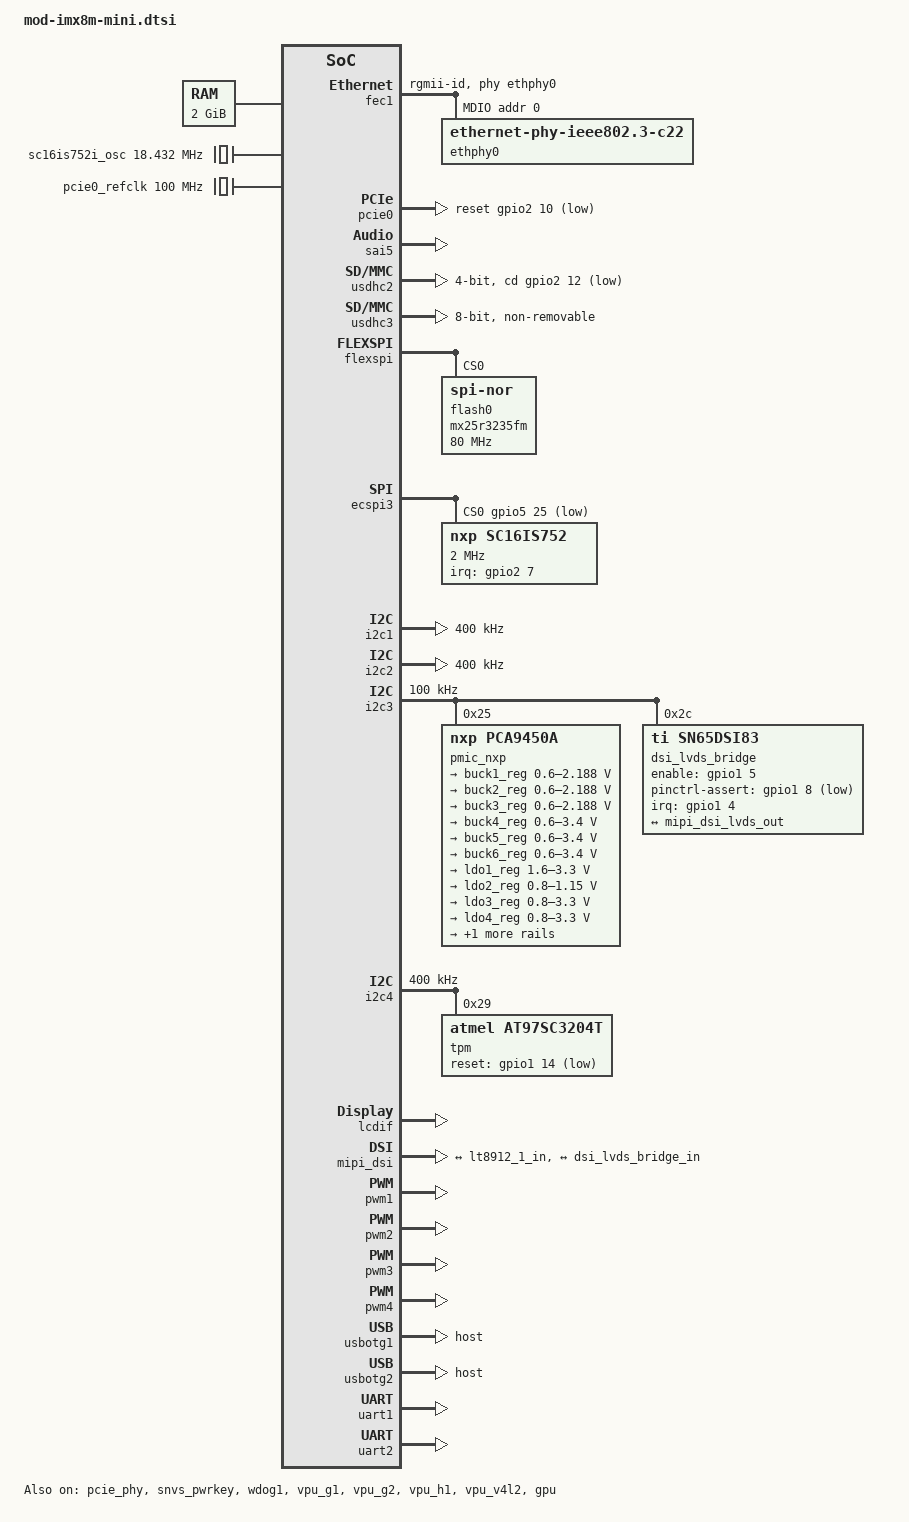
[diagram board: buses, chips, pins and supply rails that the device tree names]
// SPDX-License-Identifier: (GPL-2.0+ OR MIT)
/*
 * Copyright 2019 NXP
 */

/ {
	chosen {
        bootargs = "console=ttymxc0,115200 earlycon=ec_imx6q,0x30860000,115200";
		stdout-path = &uart1;
	};

	memory@40000000 {
		device_type = "memory";
		reg = <0x0 0x40000000 0 0x80000000>;
	};

    /* fixed crystal dedicated to sc16i2752i */
    sc16is752i_osc: sc16is752i_osc {
        compatible = "fixed-clock";
        #clock-cells = <0>;
        clock-frequency = <18432000>;
    };

	pcie0_refclk: pcie0-refclk {
		compatible = "fixed-clock";
		#clock-cells = <0>;
		clock-frequency = <100000000>;
	};
};

&A53_0 {
	cpu-supply = <&buck2_reg>;
};

&A53_1 {
	cpu-supply = <&buck2_reg>;
};

&A53_2 {
	cpu-supply = <&buck2_reg>;
};

&A53_3 {
	cpu-supply = <&buck2_reg>;
};

&fec1 {
	pinctrl-names = "default";
	pinctrl-0 = <&pinctrl_fec1>;
	phy-mode = "rgmii-id";
	phy-handle = <&ethphy0>;
	status = "okay";

	mdio {
		#address-cells = <1>;
		#size-cells = <0>;

		ethphy0: ethernet-phy@0 {
			compatible = "ethernet-phy-ieee802.3-c22";
			reg = <0>;
		};
	};
};

&pcie_phy {
	fsl,refclk-pad-mode = <IMX8_PCIE_REFCLK_PAD_INPUT>;
	fsl,tx-deemph-gen1 = <0x2d>;
	fsl,tx-deemph-gen2 = <0xf>;
	clocks = <&pcie0_refclk>;
	status = "okay";
};

&pcie0{
	pinctrl-names = "default";
	pinctrl-0 = <&pinctrl_pcie0>;
	disable-gpio = <&gpio2 11 GPIO_ACTIVE_LOW>;
	reset-gpio = <&gpio2 10 GPIO_ACTIVE_LOW>;
	clocks = <&clk IMX8MM_CLK_PCIE1_ROOT>, <&clk IMX8MM_CLK_PCIE1_AUX>,
		 <&pcie0_refclk>;
	clock-names = "pcie", "pcie_aux", "pcie_bus";
	assigned-clocks = <&clk IMX8MM_CLK_PCIE1_AUX>,
			  <&clk IMX8MM_CLK_PCIE1_CTRL>;
	assigned-clock-rates = <10000000>, <250000000>;
	assigned-clock-parents = <&clk IMX8MM_SYS_PLL2_50M>,
				 <&clk IMX8MM_SYS_PLL2_250M>;
	ext_osc = <1>;
	status = "okay";
};

&pcie0_ep{
	pinctrl-names = "default";
	pinctrl-0 = <&pinctrl_pcie0>;
	clocks = <&clk IMX8MM_CLK_PCIE1_ROOT>,
		 <&clk IMX8MM_CLK_PCIE1_AUX>,
		 <&clk IMX8MM_CLK_PCIE1_PHY>,
		 <&pcie0_refclk>;
	clock-names = "pcie", "pcie_aux", "pcie_phy", "pcie_bus";
	ext_osc = <1>;
	status = "disabled";
};

&snvs_pwrkey {
	status = "okay";
};

&sai5 {
  pinctrl-names = "default";
  pinctrl-0 = <&pinctrl_sai5>;
  assigned-clocks = <&clk IMX8MM_CLK_SAI5>;
  assigned-clock-parents = <&clk IMX8MM_AUDIO_PLL1_OUT>;
  assigned-clock-rates = <12288000>;
  status = "okay";
};

&usdhc1 {
  pinctrl-names = "default", "state_100mhz", "state_200mhz";
  pinctrl-0 = <&pinctrl_usdhc1>, <&pinctrl_usdhc1_gpio>;
  pinctrl-1 = <&pinctrl_usdhc1_100mhz>, <&pinctrl_usdhc1_gpio>;
  pinctrl-2 = <&pinctrl_usdhc1_200mhz>, <&pinctrl_usdhc1_gpio>;
  cd-gpios = <&gpio1 6 GPIO_ACTIVE_LOW>;
  no-1-8-v;
  bus-width = <4>;
  status = "disabled";
};

&usdhc2 {
	pinctrl-names = "default", "state_100mhz", "state_200mhz";
	pinctrl-0 = <&pinctrl_usdhc2>, <&pinctrl_usdhc2_gpio>;
	pinctrl-1 = <&pinctrl_usdhc2_100mhz>, <&pinctrl_usdhc2_gpio>;
	pinctrl-2 = <&pinctrl_usdhc2_200mhz>, <&pinctrl_usdhc2_gpio>;
	cd-gpios = <&gpio2 12 GPIO_ACTIVE_LOW>;
    no-1-8-v;
	bus-width = <4>;
	status = "okay";
};

&usdhc3 {
	assigned-clocks = <&clk IMX8MM_CLK_USDHC3_ROOT>;
	assigned-clock-rates = <400000000>;
	pinctrl-names = "default", "state_100mhz", "state_200mhz";
	pinctrl-0 = <&pinctrl_usdhc3>;
	pinctrl-1 = <&pinctrl_usdhc3_100mhz>;
    pinctrl-2 = <&pinctrl_usdhc3_200mhz>;
    fsl,reset-gpio = <&gpio3 16 GPIO_ACTIVE_LOW>;
	bus-width = <8>;
	non-removable;
	status = "okay";
};

&wdog1 {
	pinctrl-names = "default";
	pinctrl-0 = <&pinctrl_wdog>;
	fsl,ext-reset-output;
	status = "okay";
};

&flexspi {
	pinctrl-names = "default";
	pinctrl-0 = <&pinctrl_flexspi0>;
	status = "okay";

	flash0: mx25r3235fm@0 {
		reg = <0>;
		#address-cells = <1>;
		#size-cells = <1>;
		compatible = "jedec,spi-nor";
		spi-max-frequency = <80000000>;
		spi-tx-bus-width = <4>;
		spi-rx-bus-width = <4>;
	};
};

&ecspi1 {
  #address-cells = <1>;
  #size-cells = <0>;
  fsl,spi-num-chipselects = <2>;
  pinctrl-names = "default";
  pinctrl-0 = <&pinctrl_ecspi1 &pinctrl_ecspi1_cs>;
  cs-gpios = <&gpio5 9 GPIO_ACTIVE_LOW>, <&gpio1 0 GPIO_ACTIVE_LOW>;
  status = "disabled";
};

&ecspi2 {
  #address-cells = <1>;
  #size-cells = <0>;
  fsl,spi-num-chipselects = <2>;
  pinctrl-names = "default";
  pinctrl-0 = <&pinctrl_ecspi2 &pinctrl_ecspi2_cs>;
  cs-gpios = <&gpio5 13 GPIO_ACTIVE_LOW>, <&gpio1 1 GPIO_ACTIVE_LOW>;
  status = "disabled";
};

&ecspi3 {
  #address-cells = <1>;
  #size-cells = <0>;
  fsl,spi-num-chipselects = <1>;
  pinctrl-names = "default";
  pinctrl-0 = <&pinctrl_ecspi3 &pinctrl_ecspi3_cs>;
  cs-gpios = <&gpio5 25 GPIO_ACTIVE_LOW>;
  status = "okay";

  sc16is752: sc16is752@0 {
    compatible = "nxp,sc16is752";
    pinctrl-names = "default";
    pinctrl-0 = <&pinctrl_uartirq>;
    reg = <0>;
    clocks = <&sc16is752i_osc>;
    spi-max-frequency = <2000000>;
    interrupt-parent = <&gpio2>;
    interrupts = <7 IRQ_TYPE_EDGE_FALLING>;
    gpio-controller;
    #gpio-cells = <2>;
  };
};

&i2c1 {
	clock-frequency = <400000>;
	pinctrl-names = "default";
	pinctrl-0 = <&pinctrl_i2c1>;
	status = "okay";
};

&i2c2 {
	clock-frequency = <400000>;
	pinctrl-names = "default";
	pinctrl-0 = <&pinctrl_i2c2>;
	status = "okay";
};

&i2c3 {
	clock-frequency = <100000>;
	pinctrl-names = "default";
	pinctrl-0 = <&pinctrl_i2c3>;
	status = "okay";

	pmic_nxp: pca9450@25 {
		reg = <0x25>;
		compatible = "nxp,pca9450a";

		regulators {
			buck1_reg: BUCK1 {
				regulator-compatible = "BUCK1";
				regulator-min-microvolt = <600000>;
				regulator-max-microvolt = <2187500>;
				regulator-boot-on;
				regulator-always-on;
				regulator-ramp-delay = <3125>;
				nxp,dvs-run-voltage = <850000>;
				nxp,dvs-standby-voltage = <800000>;
			};

			buck2_reg: BUCK2 {
				regulator-compatible = "BUCK2";
				regulator-min-microvolt = <600000>;
				regulator-max-microvolt = <2187500>;
				regulator-boot-on;
				regulator-always-on;
				regulator-ramp-delay = <3125>;
			};

			buck3_reg: BUCK3 {
				regulator-compatible = "BUCK3";
				regulator-min-microvolt = <600000>;
				regulator-max-microvolt = <2187500>;
				regulator-boot-on;
				regulator-always-on;
			};

			buck4_reg: BUCK4 {
				regulator-compatible = "BUCK4";
				regulator-min-microvolt = <600000>;
				regulator-max-microvolt = <3400000>;
				regulator-boot-on;
				regulator-always-on;
			};

			buck5_reg: BUCK5 {
				regulator-compatible = "BUCK5";
				regulator-min-microvolt = <600000>;
				regulator-max-microvolt = <3400000>;
				regulator-boot-on;
				regulator-always-on;
			};

			buck6_reg: BUCK6 {
				regulator-compatible = "BUCK6";
				regulator-min-microvolt = <600000>;
				regulator-max-microvolt = <3400000>;
				regulator-boot-on;
				regulator-always-on;
			};

			ldo1_reg: LDO1 {
				regulator-compatible = "LDO1";
				regulator-min-microvolt = <1600000>;
				regulator-max-microvolt = <3300000>;
				regulator-boot-on;
				regulator-always-on;
			};

			ldo2_reg: LDO2 {
				regulator-compatible = "LDO2";
				regulator-min-microvolt = <800000>;
				regulator-max-microvolt = <1150000>;
				regulator-boot-on;
				regulator-always-on;
			};

			ldo3_reg: LDO3 {
				regulator-compatible = "LDO3";
				regulator-min-microvolt = <800000>;
				regulator-max-microvolt = <3300000>;
				regulator-boot-on;
				regulator-always-on;
			};

			ldo4_reg: LDO4 {
				regulator-compatible = "LDO4";
				regulator-min-microvolt = <800000>;
				regulator-max-microvolt = <3300000>;
				regulator-boot-on;
				regulator-always-on;
			};

			ldo5_reg: LDO5 {
				regulator-compatible = "LDO5";
				regulator-min-microvolt = <1800000>;
				regulator-max-microvolt = <3300000>;
			};
		};
	};

    dsi_lvds_bridge: sn65dsi84@2c {
      compatible = "ti,sn65dsi83";
      reg = <0x2c>;
      ti,dsi-lanes = <4>;
      ti,lvds-format = <2>;
      ti,lvds-bpp = <24>;
      ti,width-mm = <217>;
      ti,height,mm = <136>;
      enable-gpios = <&gpio1 5 GPIO_ACTIVE_HIGH>;
      interrupt-parent = <&gpio1>;
      interrupts = <4 IRQ_TYPE_LEVEL_HIGH>;
      pinctrl-names = "default";
      pinctrl-0 = <&pinctrl_lvds>;
      pinctrl-assert-gpios = <&gpio1 8 GPIO_ACTIVE_LOW>;
      status = "okay";

      display-timings {
        native-mode = <&lvds_timing1>;

        lvds_timing0: lvds_timing@0 {
          clock-frequency = <68900000>;
          hactive = <1280>;
          vactive = <800>;
          hfront-porch = <120>;
          hback-porch = <1>;
          hsync-len = <8>;
          vback-porch = <10>;
          vfront-porch = <1>;
          vsync-len = <4>;
          hsync-active = <1>;
          vsync-active = <1>;
          de-active = <1>;
          pixelclk-active = <0>;
        };

        lvds_timing1: lvds_timing@1 {
          clock-frequency = <25000000>;
          hactive = <640>;
          vactive = <480>;
          hfront-porch = <1>;
          hback-porch = <7>;
          hsync-len = <60>;
          vback-porch = <20>;
          vfront-porch = <20>;
          vsync-len = <10>;
          hsync-active = <0>;
          vsync-active = <0>;
          de-active = <0>;
          pixelclk-active = <0>;
        };

        lvds_timing2: lvds_timing@2 {
          clock-frequency = <65000000>;
          hactive = <1024>;
          vactive = <768>;
          hfront-porch = <24>;
          hback-porch = <160>;
          hsync-len = <136>;
          vfront-porch = <3>;
          vback-porch = <29>;
          vsync-len = <6>;
        };
      };
      
      port {
        dsi_lvds_bridge_in: endpoint {
          remote-endpoint = <&mipi_dsi_lvds_out>;
        };
      };
    };          

    lt_bridge: lt8912@48 {
      compatible = "lontium,lt8912";
      reg = <0x48>;
      pinctrl-names = "default";
      pinctrl-0 = <&pinctrl_lt8912>;
      reset-gpios = <&gpio2 19 GPIO_ACTIVE_LOW>;
      pinctrl-assert-gpios = <&gpio1 8 GPIO_ACTIVE_HIGH>;
      rbz,dsi-lanes = <4>;
      no-hpd;
      status = "disabled";

      port {
        lt8912_1_in: endpoint {
          remote-endpoint = <&mipi_dsi_hdmi_out>;
        };
      };

      display-timings {
        native-mode = <&hdmi_timing1>;

        // High Definition
        hdmi_timing0: hdmi_timing0 {
          clock-frequency = <74250000>;
          hactive = <1280>;
          vactive = <720>;
          hfront-porch = <110>;
          hsync-len = <40>;
          hback-porch = <220>;
          vfront-porch = <5>;
          vsync-len = <5>;
          vback-porch = <20>;
          hsync-active = <0>;
          vsync-active = <0>;
          de-active = <0>;
          pixelclk-active = <0>;
        };

        // Full HD
        hdmi_timing1: hdmi_timing@1 {
          clock-frequency = <148500000>;
          hactive = <1920>;
          vactive = <1080>;
          hfront-porch = <88>;
          hsync-len = <44>;
          hback-porch = <148>;
          vfront-porch = <36>;
          vsync-len = <5>;
          vback-porch = <4>;
          hsync-active = <0>;
          vsync-active = <0>;
          de-active = <0>;
          pixelclk-active = <0>;
        };
      };
    };
};

&i2c4 {
    clock-frequency = <400000>;
    pinctrl-names = "default";
    pinctrl-0 = <&pinctrl_i2c4>;
    status = "okay";

    tpm: tpm@29 {
      pinctrl-0 = <&pinctrl_tpm>;
      fsl,reset-gpio = <&gpio1 14 GPIO_ACTIVE_LOW>;
      compatible = "atmel,at97sc3204t";
      reg = <0x29>;
    };
};

&lcdif {
  status = "okay";
};

&mipi_dsi {
  status = "okay";

  port@1 {
    mipi_dsi_hdmi_out: endpoint {
      remote-endpoint = <&lt8912_1_in>;
      attach-bridge;
    };
  };

  port@2 {
    mipi_dsi_lvds_out: endpoint {
      remote-endpoint = <&dsi_lvds_bridge_in>;
      attach-bridge;
    };
  };
};

&pwm1 {
  pinctrl-names = "default";
  pinctrl-0 = <&pinctrl_pwm1>;
  status = "okay";
};

&pwm2 {
  pinctrl-names = "default";
  pinctrl-0 = <&pinctrl_pwm2>;
  status = "okay";
};

&pwm3 {
  pinctrl-names = "default";
  pinctrl-0 = <&pinctrl_pwm3>;
  status = "okay";
};

&pwm4 {
  pinctrl-names = "default";
  pinctrl-0 = <&pinctrl_pwm4>;
  status = "okay";
};

&usbotg1 {
  pinctrl-names = "default";
  pinctrl-0 = <&pinctrl_usbotg1>;
  over-current-active-low;
  power-active-high;
  dr_mode = "host";
  status = "okay";
};

&usbotg2 {
  pinctrl-names = "default";
  pinctrl-0 = <&pinctrl_usbotg2>;
  fsl,reset-gpio = <&gpio1 10 GPIO_ACTIVE_LOW>;
  dr_mode = "host";
  status = "okay";
};

&uart1 {
  pinctrl-names = "default";
  pinctrl-0 = <&pinctrl_uart1>;
  assigned-clocks = <&clk IMX8MM_CLK_UART1>;
  assigned-clock-parents = <&clk IMX8MM_SYS_PLL1_80M>;
  fsl,dte-mode;
  status = "okay";
};

&uart2 {
  pinctrl-names = "default";
  pinctrl-0 = <&pinctrl_uart2>;
  assigned-clocks = <&clk IMX8MM_CLK_UART2>;
  assigned-clock-parents = <&clk IMX8MM_SYS_PLL1_80M>;
  status = "okay";
};

&iomuxc {
	pinctrl-names = "default";
    pinctrl-0 = <&pinctrl_hog>;

    pinctrl_hog: hoggrp {
        fsl,pins = <
            MX8MM_IOMUXC_GPIO1_IO08_GPIO1_IO8       0x16
        >;
    };

    pinctrl_uart1: uart1grp {
        fsl,pins = <
            MX8MM_IOMUXC_SAI2_RXFS_UART1_DTE_RX     0x116
            MX8MM_IOMUXC_SAI2_RXC_UART1_DTE_TX      0x116
        >;
    }; 

    pinctrl_uart2: uart2grp {
        fsl,pins = <
            MX8MM_IOMUXC_SAI3_TXC_UART2_DCE_TX          0x140
            MX8MM_IOMUXC_SAI3_TXFS_UART2_DCE_RX         0x140
            MX8MM_IOMUXC_SAI3_RXC_UART2_DCE_CTS_B       0x140
            MX8MM_IOMUXC_SAI3_RXD_UART2_DCE_RTS_B       0x140
        >;
    };             

	pinctrl_fec1: fec1grp {
		fsl,pins = <
			MX8MM_IOMUXC_ENET_MDC_ENET1_MDC			0x3
			MX8MM_IOMUXC_ENET_MDIO_ENET1_MDIO		0x3
			MX8MM_IOMUXC_ENET_TD3_ENET1_RGMII_TD3		0x1f
			MX8MM_IOMUXC_ENET_TD2_ENET1_RGMII_TD2		0x1f
			MX8MM_IOMUXC_ENET_TD1_ENET1_RGMII_TD1		0x1f
			MX8MM_IOMUXC_ENET_TD0_ENET1_RGMII_TD0		0x1f
			MX8MM_IOMUXC_ENET_RD3_ENET1_RGMII_RD3		0x91
			MX8MM_IOMUXC_ENET_RD2_ENET1_RGMII_RD2		0x91
			MX8MM_IOMUXC_ENET_RD1_ENET1_RGMII_RD1		0x91
			MX8MM_IOMUXC_ENET_RD0_ENET1_RGMII_RD0		0x91
			MX8MM_IOMUXC_ENET_TXC_ENET1_RGMII_TXC		0x1f
			MX8MM_IOMUXC_ENET_RXC_ENET1_RGMII_RXC		0x91
			MX8MM_IOMUXC_ENET_RX_CTL_ENET1_RGMII_RX_CTL	0x91
			MX8MM_IOMUXC_ENET_TX_CTL_ENET1_RGMII_TX_CTL	0x1f
		>;
	};

	pinctrl_flexspi0: flexspi0grp {
		fsl,pins = <
			MX8MM_IOMUXC_NAND_ALE_QSPI_A_SCLK               0x1c2
			MX8MM_IOMUXC_NAND_CE0_B_QSPI_A_SS0_B            0x82
			MX8MM_IOMUXC_NAND_DATA00_QSPI_A_DATA0           0x82
			MX8MM_IOMUXC_NAND_DATA01_QSPI_A_DATA1           0x82
			MX8MM_IOMUXC_NAND_DATA02_QSPI_A_DATA2           0x82
			MX8MM_IOMUXC_NAND_DATA03_QSPI_A_DATA3           0x82
		>;
	};
  
    pinctrl_ecspi1: ecspi1grp {
        fsl,pins = <
            MX8MM_IOMUXC_ECSPI1_MISO_ECSPI1_MISO    0x82
            MX8MM_IOMUXC_ECSPI1_MOSI_ECSPI1_MOSI    0x82
            MX8MM_IOMUXC_ECSPI1_SCLK_ECSPI1_SCLK    0x82
        >;
    };
  
    pinctrl_ecspi1_cs: ecspi1_csgrp {
        fsl,pins = <
            MX8MM_IOMUXC_ECSPI1_SS0_GPIO5_IO9       0x40000
            MX8MM_IOMUXC_GPIO1_IO00_GPIO1_IO0       0x40000
        >;
    }; 

    pinctrl_ecspi2: ecspi2grp {
        fsl,pins = <
            MX8MM_IOMUXC_ECSPI2_MISO_ECSPI2_MISO    0x82
            MX8MM_IOMUXC_ECSPI2_MOSI_ECSPI2_MOSI    0x82
            MX8MM_IOMUXC_ECSPI2_SCLK_ECSPI2_SCLK    0x82
        >;
    };
  
    pinctrl_ecspi2_cs: ecspi2_csgrp {
        fsl,pins = <
            MX8MM_IOMUXC_ECSPI2_SS0_GPIO5_IO13      0x40000
            MX8MM_IOMUXC_GPIO1_IO01_GPIO1_IO1       0x40000
        >;
    };
 
    pinctrl_ecspi3: ecspi3grp {
        fsl,pins = <
            MX8MM_IOMUXC_UART1_TXD_ECSPI3_MOSI      0x82
            MX8MM_IOMUXC_UART2_RXD_ECSPI3_MISO      0x82
            MX8MM_IOMUXC_UART1_RXD_ECSPI3_SCLK      0x82
        >;
    };

    pinctrl_ecspi3_cs: ecspi3_csgrp {
        fsl,pins = <
            MX8MM_IOMUXC_UART2_TXD_GPIO5_IO25       0x17f
        >;
    };

    pinctrl_sai5: sai5grp {
        fsl,pins = <
            MX8MM_IOMUXC_SAI5_RXD0_SAI5_RX_DATA0    0xd6
            MX8MM_IOMUXC_SAI5_RXD1_SAI5_TX_SYNC     0xd6
            MX8MM_IOMUXC_SAI5_RXD2_SAI5_TX_BCLK     0xd6
            MX8MM_IOMUXC_SAI5_RXD3_SAI5_TX_DATA0    0xd6
            MX8MM_IOMUXC_SAI5_RXFS_SAI5_RX_SYNC     0xd6
        >;
    }; 

    pinctrl_uartirq: uartirqgrp {
        fsl,pins = <
            MX8MM_IOMUXC_SD1_DATA5_GPIO2_IO7       0x159
        >;
    };

	pinctrl_i2c1: i2c1grp {
		fsl,pins = <
			MX8MM_IOMUXC_I2C1_SCL_I2C1_SCL			0x400001c3
			MX8MM_IOMUXC_I2C1_SDA_I2C1_SDA			0x400001c3
		>;
	};

	pinctrl_i2c2: i2c2grp {
		fsl,pins = <
			MX8MM_IOMUXC_I2C2_SCL_I2C2_SCL			0x400001c3
			MX8MM_IOMUXC_I2C2_SDA_I2C2_SDA			0x400001c3
		>;
	};

	pinctrl_i2c3: i2c3grp {
		fsl,pins = <
			MX8MM_IOMUXC_I2C3_SCL_I2C3_SCL			0x400001c3
			MX8MM_IOMUXC_I2C3_SDA_I2C3_SDA			0x400001c3
		>;
	};

	pinctrl_i2c4: i2c4grp {
		fsl,pins = <
			MX8MM_IOMUXC_I2C4_SCL_I2C4_SCL			0x400001c3
			MX8MM_IOMUXC_I2C4_SDA_I2C4_SDA			0x400001c3
		>;
	};

	pinctrl_pcie0: pcie0grp {
		fsl,pins = <
			MX8MM_IOMUXC_SD1_RESET_B_GPIO2_IO10	0x41
			MX8MM_IOMUXC_SD1_STROBE_GPIO2_IO11	0x41
		>;
	};

    pinctrl_usdhc1_gpio: usdhc1grpgpio {
        fsl,pins = <
            MX8MM_IOMUXC_GPIO1_IO06_GPIO1_IO6   0x1c4
        >;
    };

    pinctrl_usdhc1: usdhc1grp {
        fsl,pins = <
            MX8MM_IOMUXC_SD1_CLK_USDHC1_CLK     0x190
            MX8MM_IOMUXC_SD1_CMD_USDHC1_CMD     0x1d0
            MX8MM_IOMUXC_SD1_DATA0_USDHC1_DATA0 0x1d0
            MX8MM_IOMUXC_SD1_DATA1_USDHC1_DATA1 0x1d0
            MX8MM_IOMUXC_SD1_DATA2_USDHC1_DATA2 0x1d0
            MX8MM_IOMUXC_SD1_DATA3_USDHC1_DATA3 0x1d0
        >;
    };

    pinctrl_usdhc1_100mhz: usdhc1grp100mhz {
        fsl,pins = <
            MX8MM_IOMUXC_SD1_CLK_USDHC1_CLK     0x194
            MX8MM_IOMUXC_SD1_CMD_USDHC1_CMD     0x1d4
            MX8MM_IOMUXC_SD1_DATA0_USDHC1_DATA0 0x1d4
            MX8MM_IOMUXC_SD1_DATA1_USDHC1_DATA1 0x1d4
            MX8MM_IOMUXC_SD1_DATA2_USDHC1_DATA2 0x1d4
            MX8MM_IOMUXC_SD1_DATA3_USDHC1_DATA3 0x1d4
        >;
    };

    pinctrl_usdhc1_200mhz: usdhc2grp200mhz {
        fsl,pins = <
            MX8MM_IOMUXC_SD1_CLK_USDHC1_CLK     0x196
            MX8MM_IOMUXC_SD1_CMD_USDHC1_CMD     0x1d6
            MX8MM_IOMUXC_SD1_DATA0_USDHC1_DATA0 0x1d6
            MX8MM_IOMUXC_SD1_DATA1_USDHC1_DATA1 0x1d6
            MX8MM_IOMUXC_SD1_DATA2_USDHC1_DATA2 0x1d6
            MX8MM_IOMUXC_SD1_DATA3_USDHC1_DATA3 0x1d6
        >;
    };

	pinctrl_usdhc2_gpio: usdhc2grpgpio {
		fsl,pins = <
			MX8MM_IOMUXC_SD2_CD_B_GPIO2_IO12	0x1c4
		>;
	};

	pinctrl_usdhc2: usdhc2grp {
		fsl,pins = <
			MX8MM_IOMUXC_SD2_CLK_USDHC2_CLK		0x190
			MX8MM_IOMUXC_SD2_CMD_USDHC2_CMD		0x1d0
			MX8MM_IOMUXC_SD2_DATA0_USDHC2_DATA0	0x1d0
			MX8MM_IOMUXC_SD2_DATA1_USDHC2_DATA1	0x1d0
			MX8MM_IOMUXC_SD2_DATA2_USDHC2_DATA2	0x1d0
			MX8MM_IOMUXC_SD2_DATA3_USDHC2_DATA3	0x1d0
		>;
	};

	pinctrl_usdhc2_100mhz: usdhc2grp100mhz {
		fsl,pins = <
			MX8MM_IOMUXC_SD2_CLK_USDHC2_CLK		0x194
			MX8MM_IOMUXC_SD2_CMD_USDHC2_CMD		0x1d4
			MX8MM_IOMUXC_SD2_DATA0_USDHC2_DATA0	0x1d4
			MX8MM_IOMUXC_SD2_DATA1_USDHC2_DATA1	0x1d4
			MX8MM_IOMUXC_SD2_DATA2_USDHC2_DATA2	0x1d4
			MX8MM_IOMUXC_SD2_DATA3_USDHC2_DATA3	0x1d4
		>;
	};

	pinctrl_usdhc2_200mhz: usdhc2grp200mhz {
		fsl,pins = <
			MX8MM_IOMUXC_SD2_CLK_USDHC2_CLK		0x196
			MX8MM_IOMUXC_SD2_CMD_USDHC2_CMD		0x1d6
			MX8MM_IOMUXC_SD2_DATA0_USDHC2_DATA0	0x1d6
			MX8MM_IOMUXC_SD2_DATA1_USDHC2_DATA1	0x1d6
			MX8MM_IOMUXC_SD2_DATA2_USDHC2_DATA2	0x1d6
			MX8MM_IOMUXC_SD2_DATA3_USDHC2_DATA3	0x1d6
		>;
	};

	pinctrl_usdhc3: usdhc3grp {
		fsl,pins = <
			MX8MM_IOMUXC_NAND_WE_B_USDHC3_CLK		0x190
			MX8MM_IOMUXC_NAND_WP_B_USDHC3_CMD		0x1d0
			MX8MM_IOMUXC_NAND_DATA04_USDHC3_DATA0		0x1d0
			MX8MM_IOMUXC_NAND_DATA05_USDHC3_DATA1		0x1d0
			MX8MM_IOMUXC_NAND_DATA06_USDHC3_DATA2		0x1d0
			MX8MM_IOMUXC_NAND_DATA07_USDHC3_DATA3		0x1d0
			MX8MM_IOMUXC_NAND_RE_B_USDHC3_DATA4		0x1d0
			MX8MM_IOMUXC_NAND_CE2_B_USDHC3_DATA5		0x1d0
			MX8MM_IOMUXC_NAND_CE3_B_USDHC3_DATA6		0x1d0
			MX8MM_IOMUXC_NAND_CLE_USDHC3_DATA7		0x1d0
			MX8MM_IOMUXC_NAND_CE1_B_USDHC3_STROBE 		0x190
            MX8MM_IOMUXC_NAND_READY_B_GPIO3_IO16 0x16
		>;
	};

	pinctrl_usdhc3_100mhz: usdhc3grp100mhz {
		fsl,pins = <
			MX8MM_IOMUXC_NAND_WE_B_USDHC3_CLK		0x194
			MX8MM_IOMUXC_NAND_WP_B_USDHC3_CMD		0x1d4
			MX8MM_IOMUXC_NAND_DATA04_USDHC3_DATA0		0x1d4
			MX8MM_IOMUXC_NAND_DATA05_USDHC3_DATA1		0x1d4
			MX8MM_IOMUXC_NAND_DATA06_USDHC3_DATA2		0x1d4
			MX8MM_IOMUXC_NAND_DATA07_USDHC3_DATA3		0x1d4
			MX8MM_IOMUXC_NAND_RE_B_USDHC3_DATA4		0x1d4
			MX8MM_IOMUXC_NAND_CE2_B_USDHC3_DATA5		0x1d4
			MX8MM_IOMUXC_NAND_CE3_B_USDHC3_DATA6		0x1d4
			MX8MM_IOMUXC_NAND_CLE_USDHC3_DATA7		0x1d4
			MX8MM_IOMUXC_NAND_CE1_B_USDHC3_STROBE 		0x194
            MX8MM_IOMUXC_NAND_READY_B_GPIO3_IO16 0x16
		>;
	};

	pinctrl_usdhc3_200mhz: usdhc3grp200mhz {
		fsl,pins = <
			MX8MM_IOMUXC_NAND_WE_B_USDHC3_CLK		0x196
			MX8MM_IOMUXC_NAND_WP_B_USDHC3_CMD		0x1d6
			MX8MM_IOMUXC_NAND_DATA04_USDHC3_DATA0		0x1d6
			MX8MM_IOMUXC_NAND_DATA05_USDHC3_DATA1		0x1d6
			MX8MM_IOMUXC_NAND_DATA06_USDHC3_DATA2		0x1d6
			MX8MM_IOMUXC_NAND_DATA07_USDHC3_DATA3		0x1d6
			MX8MM_IOMUXC_NAND_RE_B_USDHC3_DATA4		0x1d6
			MX8MM_IOMUXC_NAND_CE2_B_USDHC3_DATA5		0x1d6
			MX8MM_IOMUXC_NAND_CE3_B_USDHC3_DATA6		0x1d6
			MX8MM_IOMUXC_NAND_CLE_USDHC3_DATA7		0x1d6
			MX8MM_IOMUXC_NAND_CE1_B_USDHC3_STROBE 		0x1d6
            MX8MM_IOMUXC_NAND_READY_B_GPIO3_IO16 0x16
		>;
	};

    pinctrl_usbotg1: usbotg1grp {
        fsl,pins = <
            MX8MM_IOMUXC_GPIO1_IO12_USB1_OTG_PWR    0x16
            MX8MM_IOMUXC_GPIO1_IO13_USB1_OTG_OC     0x16
        >;
    };

    pinctrl_usbotg2: usbotg2grp {
        fsl,pins = <
            MX8MM_IOMUXC_GPIO1_IO10_GPIO1_IO10  0x16
        >;
    };

	pinctrl_wdog: wdoggrp {
		fsl,pins = <
			MX8MM_IOMUXC_GPIO1_IO02_WDOG1_WDOG_B	0xc6
		>;
	};
            
    pinctrl_lt8912: lt8912grp {
        fsl,pins = <
            /* Reset */
            MX8MM_IOMUXC_SD2_RESET_B_GPIO2_IO19     0x19
            /* Interrupt */
            MX8MM_IOMUXC_GPIO1_IO03_GPIO1_IO3       0x19
        >;
    };

    pinctrl_lvds: lvdsgrp {
        fsl,pins = <
            /* Enable */
            MX8MM_IOMUXC_GPIO1_IO05_GPIO1_IO5       0x19
            /* Interrupt */
            MX8MM_IOMUXC_GPIO1_IO04_GPIO1_IO4       0x19
        >;
    }; 

    pinctrl_pwm1: pmw1grp {
        fsl,pins = <
            MX8MM_IOMUXC_SPDIF_EXT_CLK_PWM1_OUT          0x16
        >;
    };

    pinctrl_pwm2: pmw2grp {
        fsl,pins = <
            MX8MM_IOMUXC_SPDIF_RX_PWM2_OUT          0x16
        >;
    };

    pinctrl_pwm3: pmw3grp {
        fsl,pins = <
            MX8MM_IOMUXC_SPDIF_TX_PWM3_OUT          0x16
        >;
    };
    
    pinctrl_pwm4: pmw4grp {
        fsl,pins = <
            MX8MM_IOMUXC_SAI3_MCLK_PWM4_OUT          0x16
        >;
    };

    pinctrl_tpm: tpmgrp {
        fsl,pins = <
            MX8MM_IOMUXC_GPIO1_IO14_GPIO1_IO14      0x16
        >;
    };
};

&vpu_g1 {
	status = "okay";
};

&vpu_g2 {
	status = "okay";
};

&vpu_h1 {
	status = "okay";
};

&vpu_v4l2 {
	status = "okay";
};

&gpu {
	status = "okay";
};
